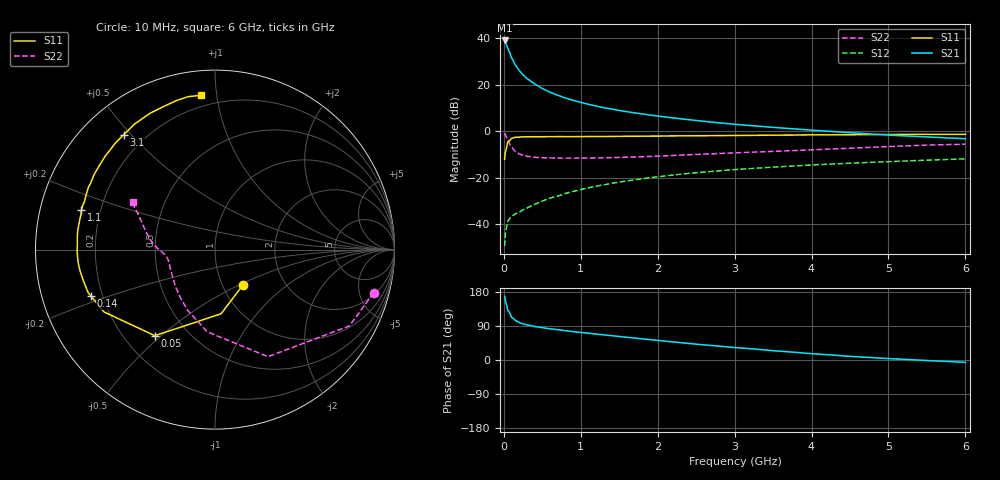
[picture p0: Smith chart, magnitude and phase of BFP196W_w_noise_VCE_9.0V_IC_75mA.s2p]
! (c) 2017  Infineon Technologies AG, Munich
! Infineon Technologies  Discrete & RF Semiconductors
! BFP196W
! VCE =  9.0 V,  IC =  75 mA
! Common Emitter S-Parameters:  Jan 2017
# GHz  S  MA  R  50
!  f  S11  S21  S12  S22
! GHz  MAG  ANG  MAG  ANG  MAG  ANG  MAG  ANG
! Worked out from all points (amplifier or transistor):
!   77 points, 10 MHz to 6 GHz, reference 50 ohm
!   highest |S21| = 39.1 dB at 10 MHz (marker M1)
!   |S21| within 3 dB of that: start of sweep to 46.91 MHz
!   unconditionally stable (mu >= 1): 627.2 MHz to 3.222 GHz
!   at 130 MHz: K = 0.47, MSG = 32.9 dB, |S12| = -35.9 dB
!   at 2.2 GHz: K = 1.04, MAG = 11.1 dB, |S12| = -18.8 dB
!   at 6 GHz: K = 0.93, MSG = 4.3 dB, |S12| = -11.8 dB
!   lowest NFmin = 1.62 dB at 450 MHz
!   S11 on the Smith chart (normalised r, x): 10 MHz: 1.24, -0.53; 50 MHz: 0.33, -0.48; 140 MHz: 0.16, -0.18; 1.1 GHz: 0.13, +0.14; 3.1 GHz: 0.12, +0.48; 6 GHz: 0.13, +0.90
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0.01  0.2518 -52.2  90.24 167.9  0.0034 76.7  0.9164 -15.2
0.02  0.3593 -84.6  84.67 156.1  0.0062 71.1  0.8613 -29.6
0.05  0.5853 -125.0  62.09 131.7  0.0115 52.6  0.6657 -63.7
0.1  0.7094 -150.7  38.23 112.8  0.015 43.3  0.4592 -95.6
0.14  0.7372 -159.3  29.03 106.5  0.0164 43.1  0.3841 -110.0
0.15  0.7466 -161.3  26.81 104.2  0.0168 43.1  0.37 -114.4
0.2  0.7548 -167.3  20.44 98.9  0.0182 46.8  0.3291 -126.1
0.25  0.762 -171.6  16.48 95.2  0.0207 49.7  0.3052 -134.9
0.3  0.766 -174.6  13.78 92.6  0.0225 51.4  0.292 -141.0
0.4  0.7682 -179.1  10.42 88.4  0.027 56.9  0.2781 -149.5
0.5  0.7675 177.6  8.348 85.2  0.0317 59.4  0.2716 -154.9
0.6  0.7704 174.7  6.982 82.4  0.0368 60.6  0.2696 -158.6
0.7  0.7719 172.3  5.979 80.0  0.0405 62.8  0.2668 -161.6
0.9  0.7714 167.7  4.648 75.0  0.0511 64.2  0.2665 -165.3
1.1  0.7763 163.6  3.825 70.7  0.0612 64.8  0.2682 -168.0
1.3  0.775 159.4  3.238 66.3  0.0709 64.0  0.2705 -170.3
1.5  0.7816 155.9  2.82 62.1  0.081 62.9  0.2756 -172.4
2.1  0.7955 144.6  2.041 49.7  0.1103 58.7  0.2982 -177.8
3.1  0.8177 128.4  1.379 31.4  0.1545 50.0  0.3507 173.8
4.1  0.8418 114.4  1.037 15.4  0.1927 41.5  0.4073 163.8
5.1  0.8589 103.5  0.816 2.8  0.2268 33.6  0.4785 154.6
6  0.8633 95.3  0.695 -6.2  0.2566 26.6  0.5303 149.8
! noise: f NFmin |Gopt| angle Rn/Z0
0.45  1.62  0.56  -175  0.06
0.9  1.75  0.59  -169  0.07
1.9  2.61  0.7  -148  0.19
2.4  3.01  0.74  -143  0.31
